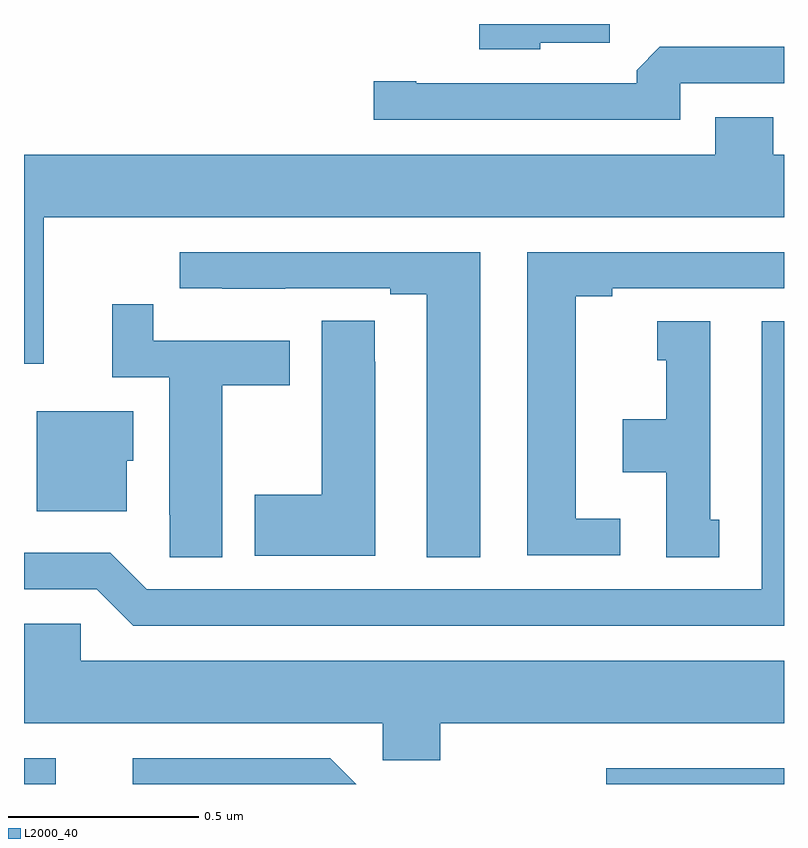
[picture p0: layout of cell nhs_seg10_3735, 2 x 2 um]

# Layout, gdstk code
import gdstk
lib = gdstk.Library(unit=1e-6, precision=1e-09)
def R(c, l, rs):  # rectangles x0, y0, x1, y1
    for r in rs: c.add(gdstk.rectangle(r[:2], r[2:], *l))
def P(c, l, *ps):  # polygons
    for p in ps: c.add(gdstk.Polygon(p, *l))
L2000_40 = (2000, 40)

nhs_seg10_3735 = lib.new_cell('nhs_seg10_3735')
R(nhs_seg10_3735, L2000_40, [(157,1289.5,157.084,1289.568), (158.532,1289.5,159,1289.541)])
P(nhs_seg10_3735, L2000_40, [(158.358,1291.451),(158.542,1291.451),(158.542,1291.5),(158.198,1291.5),(158.198,1291.433),(158.358,1291.433)],
  [(158.727,1291.344),(159,1291.344),(159,1291.44),(158.673,1291.44),(158.612,1291.378),(158.612,1291.344),(158.032,1291.344),(158.032,1291.349),(157.92,1291.349),(157.92,1291.248),(158.727,1291.248)],
  [(158.819,1291.255),(158.819,1291.156),(157,1291.156),(157,1290.606),(157.052,1290.606),(157.052,1290.992),(159,1290.992),(159,1291.156),(158.972,1291.156),(158.972,1291.255)],
  [(158.2,1290.9),(157.41,1290.9),(157.41,1290.804),(157.522,1290.804),(157.522,1290.803),(157.688,1290.803),(157.688,1290.804),(157.964,1290.804),(157.964,1290.789),(158.06,1290.789),(158.06,1290.097),(158.2,1290.097)],
  [(158.569,1290.198),(158.452,1290.198),(158.452,1290.784),(158.548,1290.784),(158.548,1290.804),(159,1290.804),(159,1290.9),(158.324,1290.9),(158.324,1290.102),(158.569,1290.102)],
  [(157.522,1290.55),(157.699,1290.55),(157.699,1290.666),(157.34,1290.666),(157.34,1290.763),(157.232,1290.763),(157.232,1290.57),(157.382,1290.57),(157.382,1290.208),(157.383,1290.208),(157.383,1290.097),(157.522,1290.097)],
  [(157.924,1290.611),(157.923,1290.611),(157.923,1290.719),(157.784,1290.719),(157.784,1290.261),(157.607,1290.261),(157.607,1290.101),(157.924,1290.101)],
  [(159,1290.718),(158.942,1290.718),(158.942,1290.012),(157.323,1290.012),(157.227,1290.108),(157,1290.108),(157,1290.012),(157.191,1290.012),(157.287,1289.916),(159,1289.916)],
  [(158.83,1290.195),(158.806,1290.195),(158.806,1290.718),(158.666,1290.718),(158.666,1290.615),(158.69,1290.615),(158.69,1290.46),(158.576,1290.46),(158.576,1290.32),(158.69,1290.32),(158.69,1290.097),(158.83,1290.097)],
  [(157.27,1290.351),(157.288,1290.351),(157.288,1290.481),(157.034,1290.481),(157.034,1290.218),(157.27,1290.218)],
  [(158.096,1289.66),(159,1289.66),(159,1289.824),(157.149,1289.824),(157.149,1289.922),(157,1289.922),(157,1289.66),(157.944,1289.66),(157.944,1289.562),(158.096,1289.562)],
  [(157.806,1289.568),(157.286,1289.568),(157.286,1289.5),(157.874,1289.5)])

lib.write_gds('nhs_seg10_3735.gds')
